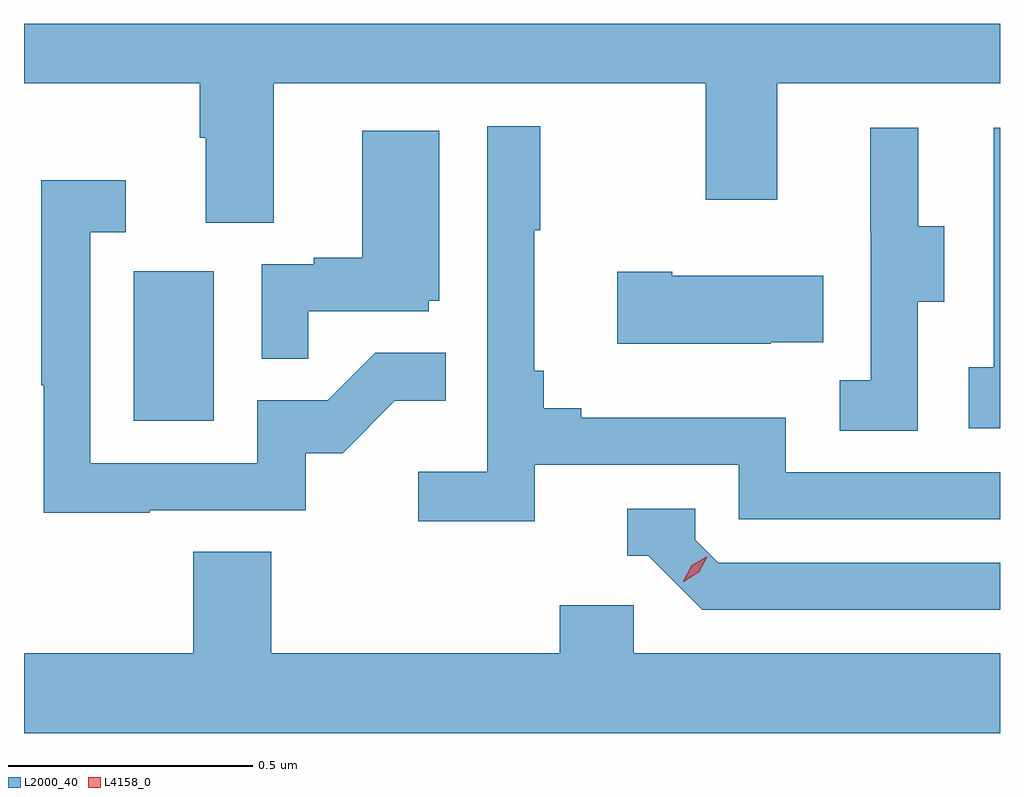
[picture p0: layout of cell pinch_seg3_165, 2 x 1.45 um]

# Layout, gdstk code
import gdstk
lib = gdstk.Library(unit=1e-6, precision=1e-09)
def R(c, l, rs):  # rectangles x0, y0, x1, y1
    for r in rs: c.add(gdstk.rectangle(r[:2], r[2:], *l))
def P(c, l, *ps):  # polygons
    for p in ps: c.add(gdstk.Polygon(p, *l))
L2000_40 = (2000, 40)
L4158_0 = (4158, 0)

pinch_seg3_165 = lib.new_cell('pinch_seg3_165')
R(pinch_seg3_165, L2000_40, [(1090.394,712.212,1090.558,712.519)])
P(pinch_seg3_165, L2000_40, [(1090.681,712.904),(1091.566,712.904),(1091.566,712.665),(1091.713,712.665),(1091.713,712.904),(1092.169,712.904),(1092.169,713.026),(1090.169,713.026),(1090.169,712.904),(1090.529,712.904),(1090.529,712.792),(1090.541,712.792),(1090.541,712.618),(1090.681,712.618)],
  [(1091.216,712.122),(1091.634,712.122),(1091.634,712.011),(1092.169,712.011),(1092.169,712.107),(1091.73,712.107),(1091.73,712.219),(1091.311,712.219),(1091.311,712.238),(1091.234,712.238),(1091.234,712.315),(1091.215,712.315),(1091.215,712.603),(1091.227,712.603),(1091.227,712.816),(1091.118,712.816),(1091.118,712.108),(1090.977,712.108),(1090.977,712.006),(1091.216,712.006)],
  [(1092,712.456),(1092.055,712.456),(1092.055,712.611),(1092.001,712.611),(1092.001,712.813),(1091.903,712.813),(1091.903,712.599),(1091.904,712.599),(1091.904,712.295),(1091.841,712.295),(1091.841,712.192),(1092,712.192)],
  [(1092.169,712.813),(1092.156,712.813),(1092.156,712.322),(1092.105,712.322),(1092.105,712.197),(1092.169,712.197)],
  [(1090.751,712.437),(1090.998,712.437),(1090.998,712.458),(1091.02,712.458),(1091.02,712.807),(1090.862,712.807),(1090.862,712.546),(1090.763,712.546),(1090.763,712.533),(1090.656,712.533),(1090.656,712.339),(1090.751,712.339)],
  [(1090.427,712.029),(1090.746,712.029),(1090.746,712.146),(1090.822,712.146),(1090.929,712.253),(1091.033,712.253),(1091.033,712.352),(1090.889,712.352),(1090.791,712.254),(1090.647,712.254),(1090.647,712.125),(1090.305,712.125),(1090.305,712.599),(1090.378,712.599),(1090.378,712.705),(1090.204,712.705),(1090.204,712.285),(1090.209,712.285),(1090.209,712.024),(1090.427,712.024)],
  [(1091.699,712.373),(1091.807,712.373),(1091.807,712.51),(1091.497,712.51),(1091.497,712.518),(1091.385,712.518),(1091.385,712.37),(1091.699,712.37)],
  [(1092.169,711.921),(1091.592,711.921),(1091.544,711.969),(1091.544,712.032),(1091.405,712.032),(1091.405,711.936),(1091.448,711.936),(1091.559,711.825),(1092.169,711.825)],
  [(1092.169,711.736),(1091.418,711.736),(1091.418,711.834),(1091.267,711.834),(1091.267,711.736),(1090.676,711.736),(1090.676,711.944),(1090.516,711.944),(1090.516,711.736),(1090.169,711.736),(1090.169,711.572),(1092.169,711.572)])
P(pinch_seg3_165, L4158_0, [(1091.52,711.883),(1091.52,711.884),(1091.537,711.916),(1091.568,711.934),(1091.569,711.934),(1091.569,711.934),(1091.552,711.902),(1091.521,711.883)])

lib.write_gds('pinch_seg3_165.gds')
